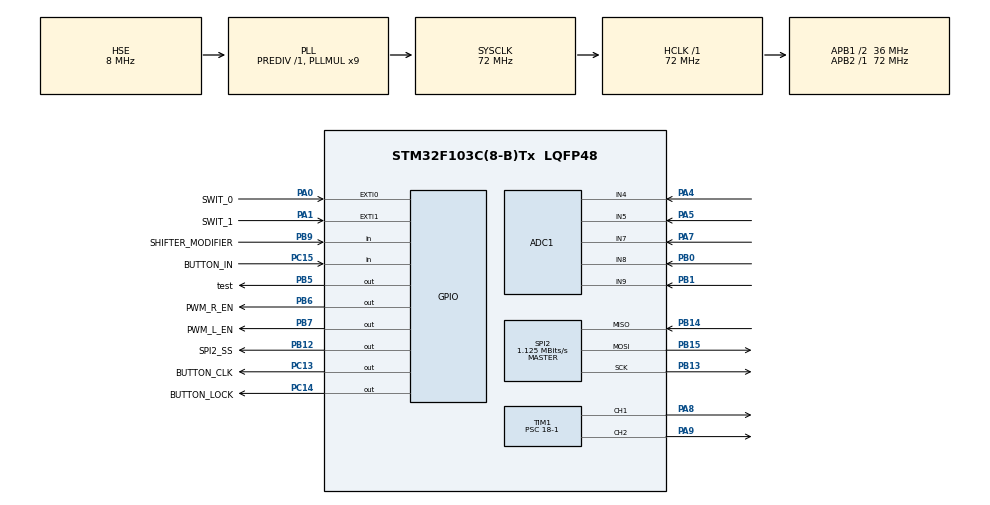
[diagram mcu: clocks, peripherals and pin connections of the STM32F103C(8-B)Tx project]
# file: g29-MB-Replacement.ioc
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ADC1.Channel-25\#ChannelRegularConversion=ADC_CHANNEL_7
ADC1.Channel-28\#ChannelRegularConversion=ADC_CHANNEL_8
ADC1.Channel-29\#ChannelRegularConversion=ADC_CHANNEL_9
ADC1.Channel-30\#ChannelRegularConversion=ADC_CHANNEL_4
ADC1.Channel-31\#ChannelRegularConversion=ADC_CHANNEL_5
ADC1.ContinuousConvMode=ENABLE
ADC1.DataAlign=ADC_DATAALIGN_LEFT
ADC1.EnableInjectedConversion=DISABLE
ADC1.ExternalTrigConv=ADC_SOFTWARE_START
ADC1.InjNumberOfConversion=2
ADC1.NbrOfConversion=5
ADC1.NbrOfConversionFlag=1
ADC1.Rank-25\#ChannelRegularConversion=1
ADC1.Rank-28\#ChannelRegularConversion=2
ADC1.Rank-29\#ChannelRegularConversion=3
ADC1.Rank-30\#ChannelRegularConversion=4
ADC1.Rank-31\#ChannelRegularConversion=5
ADC1.SamplingTime-25\#ChannelRegularConversion=ADC_SAMPLETIME_239CYCLES_5
ADC1.SamplingTime-28\#ChannelRegularConversion=ADC_SAMPLETIME_239CYCLES_5
ADC1.SamplingTime-29\#ChannelRegularConversion=ADC_SAMPLETIME_239CYCLES_5
ADC1.SamplingTime-30\#ChannelRegularConversion=ADC_SAMPLETIME_239CYCLES_5
ADC1.SamplingTime-31\#ChannelRegularConversion=ADC_SAMPLETIME_239CYCLES_5
ADC1.master=1
Dma.ADC1.2.Direction=DMA_PERIPH_TO_MEMORY
Dma.ADC1.2.Instance=DMA1_Channel1
Dma.ADC1.2.MemDataAlignment=DMA_MDATAALIGN_WORD
Dma.ADC1.2.MemInc=DMA_MINC_ENABLE
Dma.ADC1.2.Mode=DMA_CIRCULAR
Dma.ADC1.2.PeriphDataAlignment=DMA_PDATAALIGN_WORD
Dma.ADC1.2.PeriphInc=DMA_PINC_DISABLE
Dma.ADC1.2.Priority=DMA_PRIORITY_LOW
Dma.Request0=SPI2_RX
Dma.Request1=SPI2_TX
Dma.Request2=ADC1
Dma.SPI2_RX.0.Direction=DMA_PERIPH_TO_MEMORY
Dma.SPI2_RX.0.Instance=DMA1_Channel4
Dma.SPI2_RX.0.MemDataAlignment=DMA_MDATAALIGN_BYTE
Dma.SPI2_RX.0.MemInc=DMA_MINC_ENABLE
Dma.SPI2_RX.0.Mode=DMA_NORMAL
Dma.SPI2_RX.0.PeriphDataAlignment=DMA_PDATAALIGN_BYTE
Dma.SPI2_RX.0.PeriphInc=DMA_PINC_DISABLE
Dma.SPI2_RX.0.Priority=DMA_PRIORITY_HIGH
Dma.SPI2_TX.1.Direction=DMA_MEMORY_TO_PERIPH
Dma.SPI2_TX.1.Instance=DMA1_Channel5
Dma.SPI2_TX.1.MemDataAlignment=DMA_MDATAALIGN_BYTE
Dma.SPI2_TX.1.MemInc=DMA_MINC_ENABLE
Dma.SPI2_TX.1.Mode=DMA_NORMAL
Dma.SPI2_TX.1.PeriphDataAlignment=DMA_PDATAALIGN_BYTE
Dma.SPI2_TX.1.PeriphInc=DMA_PINC_DISABLE
Dma.SPI2_TX.1.Priority=DMA_PRIORITY_HIGH
Mcu.Family=STM32F1
Mcu.Name=STM32F103C(8-B)Tx
Mcu.Package=LQFP48
NVIC.DMA1_Channel1_IRQn=true\:10\:0\:true\:false\:true\:false\:true\:true
NVIC.DMA1_Channel4_IRQn=true\:3\:0\:true\:false\:true\:false\:true\:true
NVIC.DMA1_Channel5_IRQn=true\:3\:0\:true\:false\:true\:false\:true\:true
NVIC.EXTI0_IRQn=true\:5\:0\:true\:false\:true\:true\:true\:true
NVIC.EXTI1_IRQn=true\:4\:0\:true\:false\:true\:true\:true\:true
NVIC.PriorityGroup=NVIC_PRIORITYGROUP_4
NVIC.TIM3_IRQn=true\:6\:0\:true\:false\:true\:true\:true\:true
NVIC.TIM4_IRQn=true\:3\:0\:true\:false\:true\:true\:true\:true
PA0-WKUP.GPIO_Label=SWIT_0
PA0-WKUP.Signal=GPXTI0
PA1.GPIO_Label=SWIT_1
PA1.Signal=GPXTI1
PA11.GPIO_Label=USB_DM
PA11.Signal=USB_DM
PA12.GPIO_Label=USB_DP
PA12.Signal=USB_DP
PA13.Mode=Serial_Wire
PA13.Signal=SYS_JTMS-SWDIO
PA14.Mode=Serial_Wire
PA14.Signal=SYS_JTCK-SWCLK
PA4.Signal=ADCx_IN4
PA5.Signal=ADCx_IN5
PA7.Signal=ADCx_IN7
PA8.Signal=S_TIM1_CH1
PA9.Signal=S_TIM1_CH2
PB0.Signal=ADCx_IN8
PB1.Signal=ADCx_IN9
PB12.GPIO_Label=SPI2_SS
PB12.Signal=GPIO_Output
PB13.Mode=Full_Duplex_Master
PB13.Signal=SPI2_SCK
PB14.Mode=Full_Duplex_Master
PB14.Signal=SPI2_MISO
PB15.Mode=Full_Duplex_Master
PB15.Signal=SPI2_MOSI
PB5.GPIO_Label=test
PB5.GPIO_Speed=GPIO_SPEED_FREQ_HIGH
PB5.Signal=GPIO_Output
PB6.GPIO_Label=PWM_R_EN
PB6.Signal=GPIO_Output
PB7.GPIO_Label=PWM_L_EN
PB7.Signal=GPIO_Output
PB9.GPIO_Label=SHIFTER_MODIFIER
PB9.GPIO_PuPd=GPIO_PULLDOWN
PB9.Signal=GPIO_Input
PC13-TAMPER-RTC.GPIO_Label=BUTTON_CLK
PC13-TAMPER-RTC.Signal=GPIO_Output
PC14-OSC32_IN.GPIO_Label=BUTTON_LOCK
PC14-OSC32_IN.Signal=GPIO_Output
PC15-OSC32_OUT.GPIO_Label=BUTTON_IN
PC15-OSC32_OUT.GPIO_PuPd=GPIO_PULLDOWN
PC15-OSC32_OUT.Signal=GPIO_Input
PD0-OSC_IN.Mode=HSE-External-Oscillator
PD0-OSC_IN.Signal=RCC_OSC_IN
PD1-OSC_OUT.Mode=HSE-External-Oscillator
PD1-OSC_OUT.Signal=RCC_OSC_OUT
ProjectManager.HeapSize=0x200
ProjectManager.StackSize=0x400
ProjectManager.TargetToolchain=STM32CubeIDE
RCC.ADCPresc=RCC_ADCPCLK2_DIV6
RCC.AHBFreq_Value=72000000
RCC.APB1CLKDivider=RCC_HCLK_DIV2
RCC.APB1Freq_Value=36000000
RCC.APB1TimFreq_Value=72000000
RCC.APB2Freq_Value=72000000
RCC.APB2TimFreq_Value=72000000
RCC.HCLKFreq_Value=72000000
RCC.PLLMUL=RCC_PLL_MUL9
RCC.PLLSourceVirtual=RCC_PLLSOURCE_HSE
RCC.SYSCLKFreq_VALUE=72000000
RCC.SYSCLKSource=RCC_SYSCLKSOURCE_PLLCLK
RCC.USBFreq_Value=48000000
RCC.USBPrescaler=RCC_USBCLKSOURCE_PLL_DIV1_5
SH.ADCx_IN4.0=ADC1_IN4,IN4
SH.ADCx_IN5.0=ADC1_IN5,IN5
SH.ADCx_IN7.0=ADC1_IN7,IN7
SH.ADCx_IN8.0=ADC1_IN8,IN8
SH.ADCx_IN9.0=ADC1_IN9,IN9
SH.S_TIM1_CH1.0=TIM1_CH1,PWM Generation1 CH1
SH.S_TIM1_CH2.0=TIM1_CH2,PWM Generation2 CH2
SPI2.BaudRatePrescaler=SPI_BAUDRATEPRESCALER_32
SPI2.CLKPhase=SPI_PHASE_2EDGE
SPI2.CalculateBaudRate=1.125 MBits/s
SPI2.Direction=SPI_DIRECTION_2LINES
SPI2.Mode=SPI_MODE_MASTER
SPI2.VirtualType=VM_MASTER
TIM1.Channel-PWM\ Generation1\ CH1=TIM_CHANNEL_1
TIM1.Channel-PWM\ Generation2\ CH2=TIM_CHANNEL_2
TIM1.Period=255-1
TIM1.Prescaler=18-1
TIM3.Period=1000
TIM3.Prescaler=72-1
TIM4.Period=1300
TIM4.Prescaler=72-1
VP_TIM1_VS_ClockSourceINT.Mode=Internal
VP_TIM3_VS_ClockSourceINT.Mode=Internal
VP_TIM4_VS_ClockSourceINT.Mode=Internal
board=custom

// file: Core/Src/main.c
/* USER CODE BEGIN Header */
/**
 ******************************************************************************
 * @file           : main.c
 * @brief          : Main program body
 ******************************************************************************
 * @attention
 *
 * Copyright (c) 2025 STMicroelectronics.
 * All rights reserved.
 *
 * This software is licensed under terms that can be found in the LICENSE file
 * in the root directory of this software component.
 * If no LICENSE file comes with this software, it is provided AS-IS.
 *
 ******************************************************************************
 */
/* USER CODE END Header */
#include "main.h"

/* USER CODE BEGIN Includes */
#include "wheel_def.h"
#include <stdio.h>
/* USER CODE END Includes */

ADC_HandleTypeDef hadc1;
DMA_HandleTypeDef hdma_adc1;

SPI_HandleTypeDef hspi2;
DMA_HandleTypeDef hdma_spi2_rx;
DMA_HandleTypeDef hdma_spi2_tx;

TIM_HandleTypeDef htim1;
TIM_HandleTypeDef htim3;
TIM_HandleTypeDef htim4;

void SystemClock_Config(void);
static void MX_GPIO_Init(void);
static void MX_DMA_Init(void);
static void MX_SPI2_Init(void);
static void MX_TIM4_Init(void);
static void MX_ADC1_Init(void);
static void MX_TIM3_Init(void);
static void MX_TIM1_Init(void);
/* USER CODE BEGIN PFP */
static void HAL_USB_InitPeriph(void);
extern void initialise_monitor_handles(void);
/* USER CODE END PFP */

int main(void) {

	/* MCU Configuration--------------------------------------------------------*/

	/* Reset of all peripherals, Initializes the Flash interface and the Systick. */
	HAL_Init();

	/* Configure the system clock */
	SystemClock_Config();

	/* USER CODE BEGIN SysInit */
#ifdef DEBUG
	initialise_monitor_handles();
#endif
	/* USER CODE END SysInit */

	/* Initialize all configured peripherals */
	MX_GPIO_Init();
	MX_DMA_Init();
	MX_SPI2_Init();
	MX_TIM4_Init();
	MX_ADC1_Init();
	MX_TIM3_Init();
	MX_TIM1_Init();
	/* USER CODE BEGIN 2 */
	HAL_USB_InitPeriph();
	tusb_rhport_init_t dev_init = { .role = TUSB_ROLE_DEVICE };
	tusb_init(BOARD_TUD_RHPORT, &dev_init);
	wheel_startup();
	/* USER CODE END 2 */

	/* Infinite loop */
	while (1) {

	}
}

void SystemClock_Config(void) {
	RCC_OscInitTypeDef RCC_OscInitStruct = { 0 };
	RCC_ClkInitTypeDef RCC_ClkInitStruct = { 0 };
	RCC_PeriphCLKInitTypeDef PeriphClkInit = { 0 };

	/** Initializes the RCC Oscillators according to the specified parameters
	 * in the RCC_OscInitTypeDef structure.
	 */
	RCC_OscInitStruct.OscillatorType = RCC_OSCILLATORTYPE_HSE;
	RCC_OscInitStruct.HSEState = RCC_HSE_ON;
	RCC_OscInitStruct.HSEPredivValue = RCC_HSE_PREDIV_DIV1;
	RCC_OscInitStruct.HSIState = RCC_HSI_ON;
	RCC_OscInitStruct.PLL.PLLState = RCC_PLL_ON;
	RCC_OscInitStruct.PLL.PLLSource = RCC_PLLSOURCE_HSE;
	RCC_OscInitStruct.PLL.PLLMUL = RCC_PLL_MUL9;
	if (HAL_RCC_OscConfig(&RCC_OscInitStruct) != HAL_OK) {
		Error_Handler();
	}

	/** Initializes the CPU, AHB and APB buses clocks
	 */
	RCC_ClkInitStruct.ClockType = RCC_CLOCKTYPE_HCLK | RCC_CLOCKTYPE_SYSCLK
			| RCC_CLOCKTYPE_PCLK1 | RCC_CLOCKTYPE_PCLK2;
	RCC_ClkInitStruct.SYSCLKSource = RCC_SYSCLKSOURCE_PLLCLK;
	RCC_ClkInitStruct.AHBCLKDivider = RCC_SYSCLK_DIV1;
	RCC_ClkInitStruct.APB1CLKDivider = RCC_HCLK_DIV2;
	RCC_ClkInitStruct.APB2CLKDivider = RCC_HCLK_DIV1;

	if (HAL_RCC_ClockConfig(&RCC_ClkInitStruct, FLASH_LATENCY_2) != HAL_OK) {
		Error_Handler();
	}
	PeriphClkInit.PeriphClockSelection = RCC_PERIPHCLK_ADC;
	PeriphClkInit.AdcClockSelection = RCC_ADCPCLK2_DIV6;
	if (HAL_RCCEx_PeriphCLKConfig(&PeriphClkInit) != HAL_OK) {
		Error_Handler();
	}
}

static void MX_ADC1_Init(void) {

	ADC_ChannelConfTypeDef sConfig = { 0 };

	/** Common config
	 */
	hadc1.Instance = ADC1;
	hadc1.Init.ScanConvMode = ADC_SCAN_ENABLE;
	hadc1.Init.ContinuousConvMode = ENABLE;
	hadc1.Init.DiscontinuousConvMode = DISABLE;
	hadc1.Init.ExternalTrigConv = ADC_SOFTWARE_START;
	hadc1.Init.DataAlign = ADC_DATAALIGN_LEFT;
	hadc1.Init.NbrOfConversion = 5;
	if (HAL_ADC_Init(&hadc1) != HAL_OK) {
		Error_Handler();
	}

	/** Configure Regular Channel
	 */
	sConfig.Channel = ADC_CHANNEL_7;
	sConfig.Rank = ADC_REGULAR_RANK_1;
	sConfig.SamplingTime = ADC_SAMPLETIME_239CYCLES_5;
	if (HAL_ADC_ConfigChannel(&hadc1, &sConfig) != HAL_OK) {
		Error_Handler();
	}

	/** Configure Regular Channel
	 */
	sConfig.Channel = ADC_CHANNEL_8;
	sConfig.Rank = ADC_REGULAR_RANK_2;
	if (HAL_ADC_ConfigChannel(&hadc1, &sConfig) != HAL_OK) {
		Error_Handler();
	}

	/** Configure Regular Channel
	 */
	sConfig.Channel = ADC_CHANNEL_9;
	sConfig.Rank = ADC_REGULAR_RANK_3;
	if (HAL_ADC_ConfigChannel(&hadc1, &sConfig) != HAL_OK) {
		Error_Handler();
	}

	/** Configure Regular Channel
	 */
	sConfig.Channel = ADC_CHANNEL_4;
	sConfig.Rank = ADC_REGULAR_RANK_4;
	if (HAL_ADC_ConfigChannel(&hadc1, &sConfig) != HAL_OK) {
		Error_Handler();
	}

	/** Configure Regular Channel
	 */
	sConfig.Channel = ADC_CHANNEL_5;
	sConfig.Rank = ADC_REGULAR_RANK_5;
	if (HAL_ADC_ConfigChannel(&hadc1, &sConfig) != HAL_OK) {
		Error_Handler();
	}

}

static void MX_SPI2_Init(void) {

	/* SPI2 parameter configuration*/
	hspi2.Instance = SPI2;
	hspi2.Init.Mode = SPI_MODE_MASTER;
	hspi2.Init.Direction = SPI_DIRECTION_2LINES;
	hspi2.Init.DataSize = SPI_DATASIZE_8BIT;
	hspi2.Init.CLKPolarity = SPI_POLARITY_LOW;
	hspi2.Init.CLKPhase = SPI_PHASE_2EDGE;
	hspi2.Init.NSS = SPI_NSS_SOFT;
	hspi2.Init.BaudRatePrescaler = SPI_BAUDRATEPRESCALER_32;
	hspi2.Init.FirstBit = SPI_FIRSTBIT_MSB;
	hspi2.Init.TIMode = SPI_TIMODE_DISABLE;
	hspi2.Init.CRCCalculation = SPI_CRCCALCULATION_DISABLE;
	hspi2.Init.CRCPolynomial = 10;
	if (HAL_SPI_Init(&hspi2) != HAL_OK) {
		Error_Handler();
	}

}

static void MX_TIM1_Init(void) {

	TIM_ClockConfigTypeDef sClockSourceConfig = { 0 };
	TIM_MasterConfigTypeDef sMasterConfig = { 0 };
	TIM_OC_InitTypeDef sConfigOC = { 0 };
	TIM_BreakDeadTimeConfigTypeDef sBreakDeadTimeConfig = { 0 };

	htim1.Instance = TIM1;
	htim1.Init.Prescaler = 18 - 1;
	htim1.Init.CounterMode = TIM_COUNTERMODE_UP;
	htim1.Init.Period = 255 - 1;
	htim1.Init.ClockDivision = TIM_CLOCKDIVISION_DIV1;
	htim1.Init.RepetitionCounter = 0;
	htim1.Init.AutoReloadPreload = TIM_AUTORELOAD_PRELOAD_DISABLE;
	if (HAL_TIM_Base_Init(&htim1) != HAL_OK) {
		Error_Handler();
	}
	sClockSourceConfig.ClockSource = TIM_CLOCKSOURCE_INTERNAL;
	if (HAL_TIM_ConfigClockSource(&htim1, &sClockSourceConfig) != HAL_OK) {
		Error_Handler();
	}
	if (HAL_TIM_PWM_Init(&htim1) != HAL_OK) {
		Error_Handler();
	}
	sMasterConfig.MasterOutputTrigger = TIM_TRGO_RESET;
	sMasterConfig.MasterSlaveMode = TIM_MASTERSLAVEMODE_DISABLE;
	if (HAL_TIMEx_MasterConfigSynchronization(&htim1, &sMasterConfig)
			!= HAL_OK) {
		Error_Handler();
	}
	sConfigOC.OCMode = TIM_OCMODE_PWM1;
	sConfigOC.Pulse = 0;
	sConfigOC.OCPolarity = TIM_OCPOLARITY_HIGH;
	sConfigOC.OCNPolarity = TIM_OCNPOLARITY_HIGH;
	sConfigOC.OCFastMode = TIM_OCFAST_DISABLE;
	sConfigOC.OCIdleState = TIM_OCIDLESTATE_RESET;
	sConfigOC.OCNIdleState = TIM_OCNIDLESTATE_RESET;
	if (HAL_TIM_PWM_ConfigChannel(&htim1, &sConfigOC, TIM_CHANNEL_1)
			!= HAL_OK) {
		Error_Handler();
	}
	if (HAL_TIM_PWM_ConfigChannel(&htim1, &sConfigOC, TIM_CHANNEL_2)
			!= HAL_OK) {
		Error_Handler();
	}
	sBreakDeadTimeConfig.OffStateRunMode = TIM_OSSR_DISABLE;
	sBreakDeadTimeConfig.OffStateIDLEMode = TIM_OSSI_DISABLE;
	sBreakDeadTimeConfig.LockLevel = TIM_LOCKLEVEL_OFF;
	sBreakDeadTimeConfig.DeadTime = 0;
	sBreakDeadTimeConfig.BreakState = TIM_BREAK_DISABLE;
	sBreakDeadTimeConfig.BreakPolarity = TIM_BREAKPOLARITY_HIGH;
	sBreakDeadTimeConfig.AutomaticOutput = TIM_AUTOMATICOUTPUT_DISABLE;
	if (HAL_TIMEx_ConfigBreakDeadTime(&htim1, &sBreakDeadTimeConfig)
			!= HAL_OK) {
		Error_Handler();
	}
	HAL_TIM_MspPostInit(&htim1);

}

static void MX_TIM3_Init(void) {

	TIM_ClockConfigTypeDef sClockSourceConfig = { 0 };
	TIM_MasterConfigTypeDef sMasterConfig = { 0 };

	htim3.Instance = TIM3;
	htim3.Init.Prescaler = 72 - 1;
	htim3.Init.CounterMode = TIM_COUNTERMODE_UP;
	htim3.Init.Period = 1000;
	htim3.Init.ClockDivision = TIM_CLOCKDIVISION_DIV1;
	htim3.Init.AutoReloadPreload = TIM_AUTORELOAD_PRELOAD_DISABLE;
	if (HAL_TIM_Base_Init(&htim3) != HAL_OK) {
		Error_Handler();
	}
	sClockSourceConfig.ClockSource = TIM_CLOCKSOURCE_INTERNAL;
	if (HAL_TIM_ConfigClockSource(&htim3, &sClockSourceConfig) != HAL_OK) {
		Error_Handler();
	}
	sMasterConfig.MasterOutputTrigger = TIM_TRGO_RESET;
	sMasterConfig.MasterSlaveMode = TIM_MASTERSLAVEMODE_DISABLE;
	if (HAL_TIMEx_MasterConfigSynchronization(&htim3, &sMasterConfig)
			!= HAL_OK) {
		Error_Handler();
	}
	/* USER CODE BEGIN TIM3_Init 2 */
	htim3.Init.Period = SAMPLE_TIME_US;
	if (HAL_TIM_Base_Init(&htim3) != HAL_OK) {
		Error_Handler();
	}
	/* USER CODE END TIM3_Init 2 */

}

static void MX_TIM4_Init(void) {

	TIM_ClockConfigTypeDef sClockSourceConfig = { 0 };
	TIM_MasterConfigTypeDef sMasterConfig = { 0 };

	htim4.Instance = TIM4;
	htim4.Init.Prescaler = 72 - 1;
	htim4.Init.CounterMode = TIM_COUNTERMODE_UP;
	htim4.Init.Period = 1300;
	htim4.Init.ClockDivision = TIM_CLOCKDIVISION_DIV1;
	htim4.Init.AutoReloadPreload = TIM_AUTORELOAD_PRELOAD_DISABLE;
	if (HAL_TIM_Base_Init(&htim4) != HAL_OK) {
		Error_Handler();
	}
	sClockSourceConfig.ClockSource = TIM_CLOCKSOURCE_INTERNAL;
	if (HAL_TIM_ConfigClockSource(&htim4, &sClockSourceConfig) != HAL_OK) {
		Error_Handler();
	}
	sMasterConfig.MasterOutputTrigger = TIM_TRGO_RESET;
	sMasterConfig.MasterSlaveMode = TIM_MASTERSLAVEMODE_DISABLE;
	if (HAL_TIMEx_MasterConfigSynchronization(&htim4, &sMasterConfig)
			!= HAL_OK) {
		Error_Handler();
	}

}

static void MX_DMA_Init(void) {

	/* DMA controller clock enable */
	__HAL_RCC_DMA1_CLK_ENABLE();

	/* DMA interrupt init */
	/* DMA1_Channel1_IRQn interrupt configuration */
	HAL_NVIC_SetPriority(DMA1_Channel1_IRQn, 10, 0);
	HAL_NVIC_EnableIRQ(DMA1_Channel1_IRQn);
	/* DMA1_Channel4_IRQn interrupt configuration */
	HAL_NVIC_SetPriority(DMA1_Channel4_IRQn, 3, 0);
	HAL_NVIC_EnableIRQ(DMA1_Channel4_IRQn);
	/* DMA1_Channel5_IRQn interrupt configuration */
	HAL_NVIC_SetPriority(DMA1_Channel5_IRQn, 3, 0);
	HAL_NVIC_EnableIRQ(DMA1_Channel5_IRQn);

}

static void MX_GPIO_Init(void) {
	GPIO_InitTypeDef GPIO_InitStruct = { 0 };

	/* GPIO Ports Clock Enable */
	__HAL_RCC_GPIOC_CLK_ENABLE();
	__HAL_RCC_GPIOD_CLK_ENABLE();
	__HAL_RCC_GPIOA_CLK_ENABLE();
	__HAL_RCC_GPIOB_CLK_ENABLE();

	/*Configure GPIO pin Output Level */
	HAL_GPIO_WritePin(GPIOC, BUTTON_CLK_Pin | BUTTON_LOCK_Pin, GPIO_PIN_RESET);

	/*Configure GPIO pin Output Level */
	HAL_GPIO_WritePin(GPIOB,
	SPI2_SS_Pin | test_Pin | PWM_R_EN_Pin | PWM_L_EN_Pin, GPIO_PIN_RESET);

	/*Configure GPIO pins : BUTTON_CLK_Pin BUTTON_LOCK_Pin */
	GPIO_InitStruct.Pin = BUTTON_CLK_Pin | BUTTON_LOCK_Pin;
	GPIO_InitStruct.Mode = GPIO_MODE_OUTPUT_PP;
	GPIO_InitStruct.Pull = GPIO_NOPULL;
	GPIO_InitStruct.Speed = GPIO_SPEED_FREQ_LOW;
	HAL_GPIO_Init(GPIOC, &GPIO_InitStruct);

	/*Configure GPIO pin : BUTTON_IN_Pin */
	GPIO_InitStruct.Pin = BUTTON_IN_Pin;
	GPIO_InitStruct.Mode = GPIO_MODE_INPUT;
	GPIO_InitStruct.Pull = GPIO_PULLDOWN;
	HAL_GPIO_Init(BUTTON_IN_GPIO_Port, &GPIO_InitStruct);

	/*Configure GPIO pins : SWIT_0_Pin SWIT_1_Pin */
	GPIO_InitStruct.Pin = SWIT_0_Pin | SWIT_1_Pin;
	GPIO_InitStruct.Mode = GPIO_MODE_IT_RISING;
	GPIO_InitStruct.Pull = GPIO_NOPULL;
	HAL_GPIO_Init(GPIOA, &GPIO_InitStruct);

	/*Configure GPIO pins : SPI2_SS_Pin PWM_R_EN_Pin PWM_L_EN_Pin */
	GPIO_InitStruct.Pin = SPI2_SS_Pin | PWM_R_EN_Pin | PWM_L_EN_Pin;
	GPIO_InitStruct.Mode = GPIO_MODE_OUTPUT_PP;
	GPIO_InitStruct.Pull = GPIO_NOPULL;
	GPIO_InitStruct.Speed = GPIO_SPEED_FREQ_LOW;
	HAL_GPIO_Init(GPIOB, &GPIO_InitStruct);

	/*Configure GPIO pin : test_Pin */
	GPIO_InitStruct.Pin = test_Pin;
	GPIO_InitStruct.Mode = GPIO_MODE_OUTPUT_PP;
	GPIO_InitStruct.Pull = GPIO_NOPULL;
	GPIO_InitStruct.Speed = GPIO_SPEED_FREQ_HIGH;
	HAL_GPIO_Init(test_GPIO_Port, &GPIO_InitStruct);

	/*Configure GPIO pin : SHIFTER_MODIFIER_Pin */
	GPIO_InitStruct.Pin = SHIFTER_MODIFIER_Pin;
	GPIO_InitStruct.Mode = GPIO_MODE_INPUT;
	GPIO_InitStruct.Pull = GPIO_PULLDOWN;
	HAL_GPIO_Init(SHIFTER_MODIFIER_GPIO_Port, &GPIO_InitStruct);

	/* EXTI interrupt init*/
	HAL_NVIC_SetPriority(EXTI0_IRQn, 5, 0);
	HAL_NVIC_EnableIRQ(EXTI0_IRQn);

	HAL_NVIC_SetPriority(EXTI1_IRQn, 4, 0);
	HAL_NVIC_EnableIRQ(EXTI1_IRQn);

}

/* USER CODE BEGIN 4 */
static void HAL_USB_InitPeriph(void) {
	__HAL_RCC_USB_CLK_ENABLE();
	__HAL_RCC_GPIOA_CLK_ENABLE();

	GPIO_InitTypeDef GPIO_InitStruct = { 0 };
	GPIO_InitStruct.Pin = USB_DM_Pin | USB_DP_Pin;
	GPIO_InitStruct.Mode = GPIO_MODE_AF_PP;
	GPIO_InitStruct.Speed = GPIO_SPEED_FREQ_HIGH;
	HAL_GPIO_Init(USB_DM_GPIO_Port, &GPIO_InitStruct);

	HAL_NVIC_SetPriority(USB_HP_CAN1_TX_IRQn, 0, 0);
	HAL_NVIC_SetPriority(USB_LP_CAN1_RX0_IRQn, 1, 0);
	HAL_NVIC_EnableIRQ(USB_HP_CAN1_TX_IRQn);
	HAL_NVIC_EnableIRQ(USB_LP_CAN1_RX0_IRQn);
}
/* USER CODE END 4 */

void Error_Handler(void) {
	__disable_irq();
	while (1) {
	}
}
